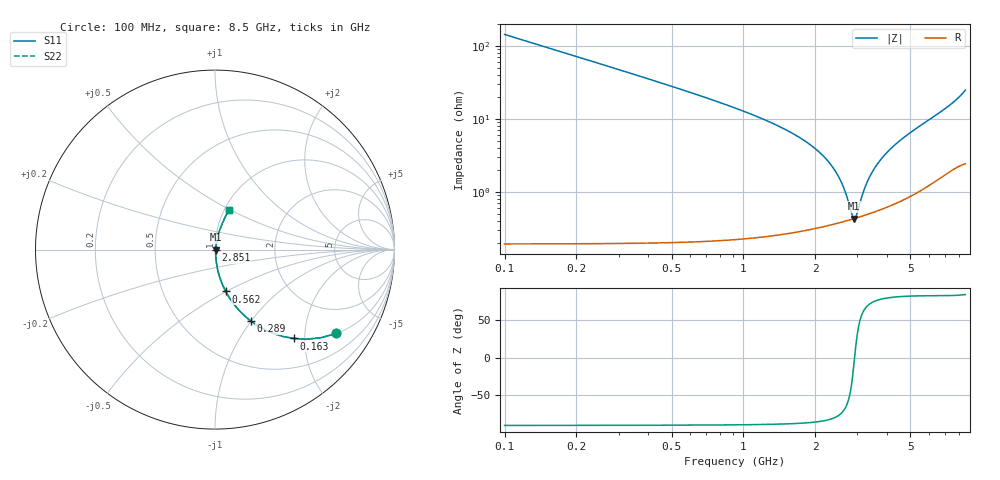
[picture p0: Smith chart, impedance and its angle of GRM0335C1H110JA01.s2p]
!Murata Part Number: GRM0335C1H110JA01
!These Parameters are Measured in Series Mode Connection
!Data Generated on Mar 30, 2021
!  o--ll--o
!Port1  Port2
!  o------o
!Operation Temp=25[degC], DC Bias Voltage=0[V]
!Freq. Start=100[MHz] Stop=9[GHz] 401[Steps]
# Hz S RI R 50
!Freq.(Hz) S11(Real) S11(Imag) S21(Real) S21(Imag) S12(Real) S12(Imag) S22(Real) S22(Imag)
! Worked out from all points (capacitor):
!   401 points, 100 MHz to 8.5 GHz, reference 50 ohm
!   read as one part in series: C = 11 pF near 142 MHz
!   lowest |Z| = 431 mohm at 2.914 GHz (marker M1)
!   series resonance near 2.919 GHz, so ESL is about 270 pH
!   S11 on the Smith chart (normalised r, x): 100 MHz: 1.00, -2.89; 163 MHz: 1.00, -1.77; 289 MHz: 1.00, -0.99; 562 MHz: 1.00, -0.50; 2.851 GHz: 1.01, -0.00; 8.5 GHz: 1.05, +0.50
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1e8  0.676 -0.4673  0.324 0.4673  0.324 0.4673  0.676 -0.4673
1.63e8  0.4393 -0.4952  0.5607 0.4952  0.5607 0.4952  0.4393 -0.4952
2.26e8  0.2889 -0.4517  0.7111 0.4517  0.7111 0.4517  0.2889 -0.4517
2.89e8  0.1983 -0.3968  0.8017 0.3968  0.8017 0.3968  0.1983 -0.3968
3.94e8  0.1165 -0.3181  0.8835 0.3181  0.8835 0.3181  0.1165 -0.3181
5.62e8  0.0597 -0.2329  0.9403 0.2329  0.9403 0.2329  0.0597 -0.2329
9.4e8  0.0209 -0.1352  0.9791 0.1352  0.9791 0.1352  0.0209 -0.1352
1.507e9  0.00763 -0.0703  0.9924 0.0703  0.9924 0.0703  0.00763 -0.0703
2.032e9  0.00455 -0.037  0.9955 0.037  0.9955 0.037  0.00455 -0.037
2.368e9  0.00401 -0.0212  0.996 0.0212  0.996 0.0212  0.00401 -0.0212
2.62e9  0.004 -0.011  0.996 0.011  0.996 0.011  0.004 -0.011
2.851e9  0.0042 -0.00241  0.9958 0.00241  0.9958 0.00241  0.0042 -0.00241
2.914e9  0.00429 -0.000183  0.9957 0.000183  0.9957 0.000183  0.00429 -0.000183
2.977e9  0.00438 0.00201  0.9956 -0.00201  0.9956 -0.00201  0.00438 0.00201
3.229e9  0.00487 0.0104  0.9951 -0.0104  0.9951 -0.0104  0.00487 0.0104
3.46e9  0.00546 0.0178  0.9945 -0.0178  0.9945 -0.0178  0.00546 0.0178
3.817e9  0.00661 0.0286  0.9934 -0.0286  0.9934 -0.0286  0.00661 0.0286
4.3e9  0.00863 0.0428  0.9914 -0.0428  0.9914 -0.0428  0.00863 0.0428
4.909e9  0.012 0.0605  0.988 -0.0605  0.988 -0.0605  0.012 0.0605
5.707e9  0.0183 0.0847  0.9817 -0.0847  0.9817 -0.0847  0.0183 0.0847
7.114e9  0.0368 0.1362  0.9632 -0.1362  0.9632 -0.1362  0.0368 0.1362
8.5e9  0.0778 0.2233  0.9222 -0.2233  0.9222 -0.2233  0.0778 0.2233
